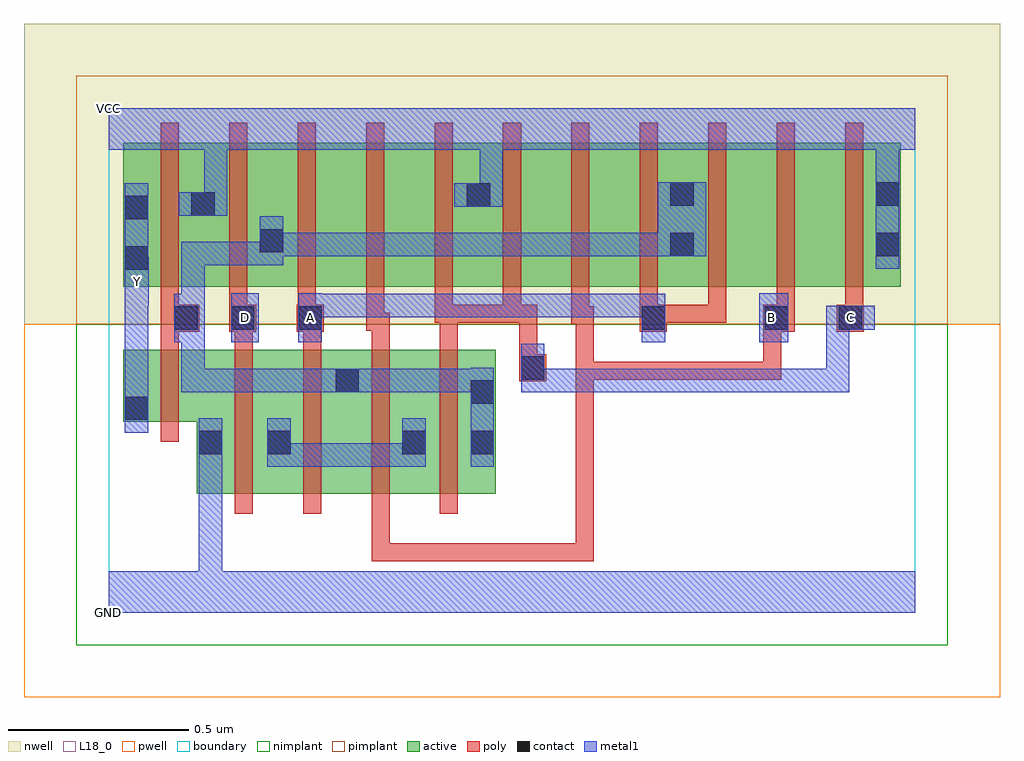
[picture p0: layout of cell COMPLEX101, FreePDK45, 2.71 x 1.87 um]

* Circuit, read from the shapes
.subckt COMPLEX101 A B C D GND VCC Y
M1 GND n1 Y VSUBS nfet w=0.2u l=0.05u
M2 n2 D GND VSUBS nfet w=0.4u l=0.05u
M3 n1 A n2 VSUBS nfet w=0.4u l=0.05u
M4 n2 B n1 VSUBS nfet w=0.4u l=0.05u
M5 n1 C n2 VSUBS nfet w=0.4u l=0.05u
M6 VCC n1 Y n3 pfet w=0.4u l=0.05u
M7 n1 D VCC n3 pfet w=0.4u l=0.05u
M8 n4 A n1 n3 pfet w=0.4u l=0.05u
M9 n5 B n4 n3 pfet w=0.4u l=0.05u
M10 VCC C n5 n3 pfet w=0.4u l=0.05u
M11 n6 C VCC n3 pfet w=0.4u l=0.05u
M12 n7 B n6 n3 pfet w=0.4u l=0.05u
M13 n1 A n7 n3 pfet w=0.4u l=0.05u
M14 n8 A n1 n3 pfet w=0.4u l=0.05u
M15 n9 B n8 n3 pfet w=0.4u l=0.05u
M16 VCC C n9 n3 pfet w=0.4u l=0.05u
.ends

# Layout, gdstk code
import gdstk
lib = gdstk.Library(unit=1e-6, precision=1e-09)
def R(c, l, rs):  # rectangles x0, y0, x1, y1
    for r in rs: c.add(gdstk.rectangle(r[:2], r[2:], *l))
def A(c, l, x, y, w, h, nx, ny, dx, dy):  # array of equal rectangles
    R(c, l, [(x+i*dx, y+j*dy, x+i*dx+w, y+j*dy+h) for i in range(nx) for j in range(ny)])
active = (1, 0)
pwell = (2, 0)
nwell = (3, 0)
nimplant = (4, 0)
pimplant = (5, 0)
poly = (9, 0)
contact = (10, 0)
metal1 = (11, 0)
L18_0 = (18, 0)
boundary = (235, 0)

complex101 = lib.new_cell('COMPLEX101')
A(complex101, active, 0.645, 0.905, 0.19, 0.4, 3, 1, 0.57, 0)
R(complex101, active, [(0.245,0.33,0.51,0.73), (0.245,0.33,0.32,0.597), (0.435,0.33,0.7,0.73), (0.625,0.33,0.885,0.73), (0.81,0.33,1.075,0.73), (0.435,0.332,0.51,0.597), (0.625,0.345,0.7,0.73), (0.81,0.345,0.885,0.537), (1,0.345,1.075,0.73), (0.04,0.53,0.32,0.73), (0.04,0.53,0.115,0.73), (0.04,0.905,0.3,1.305), (0.04,0.905,0.115,1.2), (0.225,0.905,0.49,1.305), (0.225,0.905,0.3,1.305), (0.415,0.905,0.645,1.305), (0.415,0.905,0.49,1.2), (0.835,0.905,1.065,1.305), (0.99,0.905,1.065,1.305), (0.99,0.905,1.215,1.305), (1.405,0.905,1.63,1.305), (1.555,0.905,1.785,1.305), (1.555,0.905,1.63,1.2), (1.975,0.905,2.2,1.305), (2.125,0.905,2.2,1.305)])
R(complex101, pwell, [(-0.235,-0.235,2.475,0.8)])
R(complex101, nwell, [(-0.235,0.8,2.475,1.635)])
R(complex101, nimplant, [(-0.09,-0.09,2.33,0.8)])
R(complex101, pimplant, [(-0.09,0.8,2.33,1.49)])
A(complex101, poly, 0.35, 0.275, 0.05, 0.51, 4, 1, 0.19, 0)
A(complex101, poly, 0.145, 0.805, 0.05, 0.095, 3, 1, 0.19, 0)
A(complex101, poly, 1.475, 0.805, 0.05, 0.095, 4, 1, 0.19, 0)
A(complex101, poly, 0.145, 0.85, 0.05, 0.51, 11, 1, 0.19, 0)
R(complex101, poly, [(0.73,0.142,0.78,0.325), (0.73,0.142,0.78,0.192), (0.73,0.142,0.78,0.192), (0.73,0.142,0.78,0.192), (0.73,0.142,0.97,0.192), (0.92,0.142,0.97,0.192), (0.92,0.142,0.97,0.192), (0.92,0.142,0.97,0.192), (0.92,0.142,1.102,0.192), (1.052,0.142,1.102,0.192), (1.052,0.142,1.102,0.192), (1.052,0.142,1.102,0.192), (1.052,0.142,1.347,0.192), (1.297,0.142,1.347,0.192), (1.297,0.142,1.347,0.192), (1.297,0.142,1.347,0.192), (1.297,0.142,1.347,0.192), (1.297,0.142,1.347,0.192), (1.297,0.142,1.347,0.697), (0.145,0.475,0.195,0.785), (1.14,0.642,1.215,0.717), (1.297,0.647,1.347,0.697), (1.297,0.647,1.347,0.697), (1.297,0.647,1.347,0.697), (1.297,0.647,1.55,0.697), (1.297,0.647,1.347,0.85), (1.5,0.647,1.55,0.697), (1.5,0.647,1.55,0.697), (1.5,0.647,1.55,0.697), (1.5,0.647,1.735,0.697), (1.685,0.647,1.735,0.697), (1.685,0.647,1.735,0.697), (1.685,0.647,1.735,0.697), (1.685,0.647,1.867,0.697), (1.817,0.647,1.867,0.83), (1.817,0.647,1.867,0.697), (1.817,0.647,1.867,0.697), (1.817,0.647,1.867,0.697), (1.817,0.647,1.867,0.697), (1.817,0.647,1.867,0.697), (1.14,0.667,1.19,0.855), (0.145,0.735,0.195,0.83), (0.35,0.735,0.4,0.83), (0.54,0.735,0.59,0.83), (0.73,0.735,0.78,0.832), (0.92,0.735,0.97,0.855), (0.145,0.78,0.252,0.855), (0.335,0.78,0.41,0.855), (0.522,0.78,0.597,0.855), (1.475,0.78,1.55,0.855), (1.817,0.78,1.905,0.855), (2.022,0.78,2.097,0.855), (0.715,0.782,0.78,0.832), (0.715,0.782,0.765,0.9), (1.285,0.8,1.335,0.9), (1.285,0.8,1.347,0.85), (0.905,0.805,0.955,0.9), (0.905,0.805,0.97,0.855), (0.92,0.805,0.97,0.855), (0.92,0.805,0.97,0.855), (0.92,0.805,1.145,0.855), (1.095,0.805,1.145,0.9), (1.095,0.805,1.145,0.855), (1.095,0.805,1.145,0.855), (1.095,0.805,1.19,0.855), (1.5,0.805,1.715,0.855), (1.665,0.805,1.715,0.855), (1.665,0.805,1.715,0.855), (1.665,0.805,1.715,0.855)])
R(complex101, contact, [(0.25,0.44,0.315,0.505), (0.44,0.44,0.505,0.505), (0.815,0.44,0.88,0.505), (1.005,0.44,1.07,0.505), (0.045,0.535,0.11,0.6), (1.005,0.58,1.07,0.645), (0.63,0.612,0.695,0.677), (1.145,0.647,1.21,0.712), (0.182,0.785,0.247,0.85), (0.34,0.785,0.405,0.85), (0.527,0.785,0.592,0.85), (1.48,0.785,1.545,0.85), (1.822,0.785,1.887,0.85), (2.027,0.785,2.092,0.85), (0.045,0.952,0.11,1.017), (1.56,0.99,1.625,1.055), (2.13,0.99,2.195,1.055), (0.42,1,0.485,1.065), (0.045,1.092,0.11,1.157), (0.23,1.102,0.295,1.167), (0.995,1.127,1.06,1.192), (1.56,1.13,1.625,1.195), (2.13,1.13,2.195,1.195)])
R(complex101, metal1, [(0,0,2.24,0.115), (0.25,0.05,0.315,0.115), (0.25,0.05,0.315,0.115), (0.25,0.05,0.315,0.115), (0.25,0.05,0.315,0.115), (0.25,0.05,0.315,0.47), (0.25,0.405,0.315,0.54), (0.44,0.405,0.505,0.54), (0.44,0.405,0.742,0.47), (0.677,0.405,0.742,0.47), (0.677,0.405,0.742,0.47), (0.677,0.405,0.742,0.47), (0.677,0.405,0.88,0.47), (0.815,0.405,0.88,0.47), (0.815,0.405,0.88,0.47), (0.815,0.405,0.88,0.54), (1.005,0.405,1.07,0.68), (0.045,0.5,0.11,0.635), (0.045,0.57,0.11,0.917), (0.202,0.612,0.267,0.677), (0.202,0.612,0.437,0.677), (0.202,0.612,0.267,0.885), (0.372,0.612,0.437,0.677), (0.372,0.612,0.437,0.677), (0.372,0.612,0.437,0.677), (0.372,0.612,0.66,0.677), (0.595,0.612,0.66,0.677), (0.595,0.612,0.66,0.677), (0.595,0.612,0.73,0.677), (0.665,0.612,0.88,0.677), (0.815,0.612,0.88,0.677), (0.815,0.612,0.88,0.677), (0.815,0.612,0.88,0.677), (0.815,0.612,1.07,0.677), (1.005,0.612,1.07,0.677), (1.005,0.612,1.07,0.677), (1.145,0.612,1.21,0.677), (1.145,0.612,1.21,0.677), (1.145,0.612,1.21,0.677), (1.145,0.612,1.21,0.677), (1.145,0.612,1.21,0.747), (1.145,0.612,1.377,0.677), (1.312,0.612,1.377,0.677), (1.312,0.612,1.377,0.677), (1.312,0.612,1.377,0.677), (1.312,0.612,1.587,0.677), (1.522,0.612,1.587,0.677), (1.522,0.612,1.587,0.677), (1.522,0.612,1.587,0.677), (1.522,0.612,1.725,0.677), (1.66,0.612,1.725,0.677), (1.66,0.612,1.862,0.677), (1.797,0.612,1.862,0.677), (1.797,0.612,1.862,0.677), (1.797,0.612,1.862,0.677), (1.797,0.612,2.057,0.677), (1.992,0.612,2.057,0.677), (1.992,0.612,2.057,0.85), (0.182,0.75,0.247,0.885), (0.34,0.75,0.417,0.887), (0.527,0.75,0.592,0.887), (1.48,0.75,1.545,0.885), (1.807,0.75,1.887,0.887), (1.992,0.785,2.057,0.85), (1.992,0.785,2.057,0.85), (1.992,0.785,2.127,0.852), (0.182,0.82,0.267,0.885), (0.202,0.82,0.267,0.885), (0.202,0.82,0.267,1.03), (0.527,0.82,0.642,0.885), (0.577,0.82,0.642,0.885), (0.577,0.82,0.88,0.885), (0.815,0.82,0.88,0.885), (0.815,0.82,0.88,0.885), (0.815,0.82,0.88,0.885), (0.815,0.82,1.017,0.885), (0.952,0.82,1.017,0.885), (0.952,0.82,1.017,0.885), (0.952,0.82,1.017,0.885), (0.952,0.82,1.24,0.885), (1.175,0.82,1.24,0.885), (1.175,0.82,1.24,0.885), (1.175,0.82,1.24,0.885), (1.175,0.82,1.407,0.885), (1.342,0.82,1.407,0.885), (1.342,0.82,1.445,0.885), (1.38,0.82,1.445,0.885), (1.38,0.82,1.545,0.885), (0.045,0.852,0.112,0.987), (0.045,0.917,0.11,1.192), (0.045,0.917,0.11,0.982), (2.13,0.955,2.195,1.23), (0.202,0.965,0.267,1.03), (0.202,0.965,0.455,1.03), (0.39,0.965,0.455,1.03), (0.39,0.965,0.485,1.03), (0.42,0.965,0.485,1.1), (0.42,0.99,0.642,1.055), (0.577,0.99,0.642,1.055), (0.577,0.99,0.642,1.055), (0.577,0.99,0.642,1.055), (0.577,0.99,0.88,1.055), (0.815,0.99,0.88,1.055), (0.815,0.99,0.88,1.055), (0.815,0.99,0.88,1.055), (0.815,0.99,1.07,1.055), (1.005,0.99,1.07,1.055), (1.005,0.99,1.07,1.055), (1.005,0.99,1.07,1.055), (1.005,0.99,1.24,1.055), (1.175,0.99,1.24,1.055), (1.175,0.99,1.24,1.055), (1.175,0.99,1.24,1.055), (1.175,0.99,1.377,1.055), (1.312,0.99,1.377,1.055), (1.312,0.99,1.377,1.055), (1.312,0.99,1.377,1.055), (1.312,0.99,1.59,1.055), (1.525,0.99,1.59,1.055), (1.525,0.99,1.59,1.055), (1.525,0.99,1.66,1.195), (0.195,1.102,0.33,1.167), (0.265,1.102,0.33,1.35), (0.96,1.127,1.095,1.192), (1.03,1.127,1.095,1.35), (2.13,1.165,2.195,1.35), (0,1.285,2.24,1.4)])
R(complex101, L18_0, [(0,0,2.24,0.115), (0.25,0.05,0.315,0.115), (0.25,0.05,0.315,0.115), (0.25,0.05,0.315,0.115), (0.25,0.05,0.315,0.115), (0.25,0.05,0.315,0.47), (0.25,0.405,0.315,0.54), (0.045,0.5,0.11,0.635), (0.045,0.57,0.11,0.917), (1.145,0.612,1.21,0.747), (1.145,0.612,1.21,0.677), (1.145,0.612,1.21,0.677), (1.145,0.612,1.21,0.677), (1.145,0.612,1.21,0.677), (1.145,0.612,1.377,0.677), (1.312,0.612,1.377,0.677), (1.312,0.612,1.377,0.677), (1.312,0.612,1.377,0.677), (1.312,0.612,1.587,0.677), (1.522,0.612,1.587,0.677), (1.522,0.612,1.587,0.677), (1.522,0.612,1.587,0.677), (1.522,0.612,1.725,0.677), (1.66,0.612,1.725,0.677), (1.66,0.612,1.862,0.677), (1.797,0.612,1.862,0.677), (1.797,0.612,1.862,0.677), (1.797,0.612,1.862,0.677), (1.797,0.612,2.057,0.677), (1.992,0.612,2.057,0.677), (1.992,0.612,2.057,0.85), (0.34,0.75,0.417,0.887), (0.527,0.75,0.592,0.887), (1.48,0.75,1.545,0.885), (1.807,0.75,1.887,0.887), (1.992,0.785,2.057,0.85), (1.992,0.785,2.057,0.85), (1.992,0.785,2.127,0.852), (0.347,0.787,0.412,0.852), (0.527,0.787,0.592,0.852), (1.807,0.787,1.872,0.852), (2.027,0.787,2.092,0.852), (0.527,0.82,0.642,0.885), (0.577,0.82,0.642,0.885), (0.577,0.82,0.88,0.885), (0.815,0.82,0.88,0.885), (0.815,0.82,0.88,0.885), (0.815,0.82,0.88,0.885), (0.815,0.82,1.017,0.885), (0.952,0.82,1.017,0.885), (0.952,0.82,1.017,0.885), (0.952,0.82,1.017,0.885), (0.952,0.82,1.24,0.885), (1.175,0.82,1.24,0.885), (1.175,0.82,1.24,0.885), (1.175,0.82,1.24,0.885), (1.175,0.82,1.407,0.885), (1.342,0.82,1.407,0.885), (1.342,0.82,1.445,0.885), (1.38,0.82,1.445,0.885), (1.38,0.82,1.545,0.885), (0.045,0.852,0.112,0.987), (0.047,0.887,0.112,0.952), (0.045,0.917,0.11,1.192), (0.045,0.917,0.11,0.982), (2.13,0.955,2.195,1.23), (0.195,1.102,0.33,1.167), (0.265,1.102,0.33,1.35), (0.96,1.127,1.095,1.192), (1.03,1.127,1.095,1.35), (2.13,1.165,2.195,1.35), (0,1.285,2.24,1.4)])
R(complex101, boundary, [(0,0,2.24,1.4)])
complex101.add(gdstk.Label('A', (0.56,0.82), layer=11, texttype=0))
complex101.add(gdstk.Label('B', (1.84,0.82), layer=11, texttype=0))
complex101.add(gdstk.Label('C', (2.06,0.82), layer=11, texttype=0))
complex101.add(gdstk.Label('D', (0.38,0.82), layer=11, texttype=0))
complex101.add(gdstk.Label('Y', (0.08,0.92), layer=11, texttype=0))
complex101.add(gdstk.Label('VCC', (0,1.4), layer=11, texttype=0))
complex101.add(gdstk.Label('GND', (0,0), layer=11, texttype=0))

lib.write_gds('COMPLEX101.gds')
